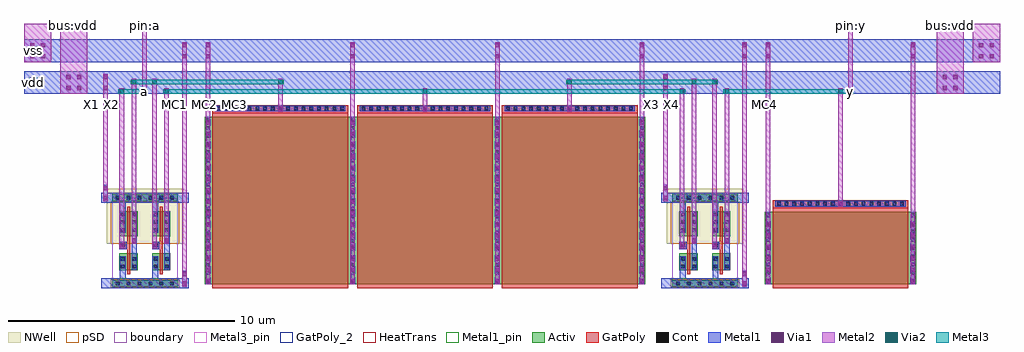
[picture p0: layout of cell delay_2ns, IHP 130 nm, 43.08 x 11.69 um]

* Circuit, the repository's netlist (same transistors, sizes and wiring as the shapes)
** sch_path: /foss/designs/Designs/bidir-level-shifter/xschem/schematics/delay_2ns.sch
.subckt delay_2ns a y vdd vss
*.PININFO a:B y:B vdd:B vss:B
X1 net1 a vdd vss sg13cmos5l_inv_1
MMC1 vss net1 vss vss sg13_lv_nmos w=7.4u l=6u ng=1
X2 net2 net1 vdd vss sg13cmos5l_inv_1
MMC2 vss net2 vss vss sg13_lv_nmos w=7.4u l=6u ng=1
X3 net3 net2 vdd vss sg13cmos5l_inv_1
MMC3 vss net3 vss vss sg13_lv_nmos w=7.4u l=6u ng=1
X4 y net3 vdd vss sg13cmos5l_inv_1
MMC4 vss y vss vss sg13_lv_nmos w=3.2u l=6u ng=1
.ends

* expanding   symbol:  logic_gates/sg13cmos5l_inv_1.sym # of pins=4
** sym_path: /foss/designs/Designs/bidir-level-shifter/xschem/logic_gates/sg13cmos5l_inv_1.sym
** sch_path: /foss/designs/Designs/bidir-level-shifter/xschem/logic_gates/sg13cmos5l_inv_1.sch
.subckt sg13cmos5l_inv_1 Y A VDD VSS
*.PININFO Y:B A:B VDD:B VSS:B
MMN0 Y A VSS VSS sg13_lv_nmos w=0.74u l=0.13u ng=1
MMP0 Y A VDD VDD sg13_lv_pmos w=1.12u l=0.13u ng=1
.ends

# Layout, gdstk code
import gdstk
lib = gdstk.Library(unit=1e-6, precision=1e-09)
def R(c, l, rs):  # rectangles x0, y0, x1, y1
    for r in rs: c.add(gdstk.rectangle(r[:2], r[2:], *l))
def A(c, l, x, y, w, h, nx, ny, dx, dy):  # array of equal rectangles
    R(c, l, [(x+i*dx, y+j*dy, x+i*dx+w, y+j*dy+h) for i in range(nx) for j in range(ny)])
def P(c, l, *ps):  # polygons
    for p in ps: c.add(gdstk.Polygon(p, *l))
Activ = (1, 0)
GatPoly = (5, 0)
GatPoly_2 = (5, 2)
Cont = (6, 0)
Metal1 = (8, 0)
Metal1_pin = (8, 2)
Metal2 = (10, 0)
pSD = (14, 0)
Via1 = (19, 0)
Via2 = (29, 0)
Metal3 = (30, 0)
Metal3_pin = (30, 2)
NWell = (31, 0)
HeatTrans = (51, 0)
boundary = (189, 4)

sg13cmos5l_inv_1 = lib.new_cell('sg13cmos5l_inv_1')
R(sg13cmos5l_inv_1, Activ, [(0,-0.15,1.44,0.15), (0.31,0.59,1.12,1.33), (0.31,2.075,1.12,3.195), (0,3.63,1.44,3.93)])
P(sg13cmos5l_inv_1, GatPoly, [(0.65,0.41),(0.65,1.52),(0.31,1.52),(0.31,1.85),(0.65,1.85),(0.65,3.375),(0.78,3.375),(0.78,0.41)])
A(sg13cmos5l_inv_1, Cont, 0.38, 2.285, 0.16, 0.16, 1, 3, 0, 0.34)
A(sg13cmos5l_inv_1, Cont, 0.89, 2.285, 0.16, 0.16, 1, 3, 0, 0.34)
R(sg13cmos5l_inv_1, Cont, [(0.16,-0.08,0.32,0.08), (0.16,-0.08,0.32,0.08), (0.64,-0.08,0.8,0.08), (0.64,-0.08,0.8,0.08), (1.12,-0.08,1.28,0.08), (1.12,-0.08,1.28,0.08), (0.38,0.66,0.54,0.82), (0.89,0.66,1.05,0.82), (0.38,1,0.54,1.16), (0.89,1,1.05,1.16), (0.395,1.605,0.555,1.765), (0.16,3.7,0.32,3.86), (0.16,3.7,0.32,3.86), (0.64,3.7,0.8,3.86), (0.64,3.7,0.8,3.86), (1.12,3.7,1.28,3.86), (1.12,3.7,1.28,3.86)])
R(sg13cmos5l_inv_1, Metal1, [(0.855,0.61,1.085,3.175), (0.31,1.52,0.625,1.85)])
P(sg13cmos5l_inv_1, Metal1, [(0,-0.22),(0,0.22),(0.33,0.22),(0.33,1.21),(0.59,1.21),(0.59,0.22),(1.44,0.22),(1.44,-0.22)],
  [(0.33,2.235),(0.33,3.56),(0,3.56),(0,4),(1.44,4),(1.44,3.56),(0.59,3.56),(0.59,2.235)])
R(sg13cmos5l_inv_1, Metal1_pin, [(0,-0.22,1.44,0.22), (0.855,0.61,1.085,3.175), (0.31,1.52,0.625,1.85), (0,3.56,1.44,4)])
R(sg13cmos5l_inv_1, pSD, [(-0.07,-0.18,1.51,0.18), (-0.07,1.76,1.51,3.6)])
R(sg13cmos5l_inv_1, NWell, [(-0.24,1.75,1.68,4.17)])
R(sg13cmos5l_inv_1, boundary, [(0,0,1.44,3.78)])
sg13cmos5l_inv_1.add(gdstk.Label('VDD', (0.705,3.78), layer=8, texttype=25))
sg13cmos5l_inv_1.add(gdstk.Label('VSS', (0.72,-0.02), layer=8, texttype=25))
sg13cmos5l_inv_1.add(gdstk.Label('A', (0.48,1.68), layer=8, texttype=25))
sg13cmos5l_inv_1.add(gdstk.Label('Y', (0.98,1.69), layer=8, texttype=25))

nmos = lib.new_cell('nmos')
A(nmos, Activ, 0, 0, 0.3, 0.3, 4, 1, 6.38, 0)
R(nmos, Activ, [(0,0,19.44,7.4)])
A(nmos, GatPoly, 0.34, -0.18, 6, 7.76, 3, 1, 6.38, 0)
R(nmos, GatPoly_2, [(0.34,-0.18,6.34,7.58)])
A(nmos, Cont, 0.07, 0.07, 0.16, 0.16, 4, 21, 6.38, 0.355)
A(nmos, Metal1, 0.07, 0, 0.16, 7.4, 4, 1, 6.38, 0)
R(nmos, Metal1_pin, [(0.07,0,0.23,7.4), (6.45,0,6.61,7.4)])
A(nmos, HeatTrans, 0.34, -0.18, 6, 7.76, 3, 1, 6.38, 0)
nmos.add(gdstk.Label('nmos', (3.34,3.7), layer=63, texttype=0))
nmos.add(gdstk.Label('nmos', (3.34,3.7), layer=51, texttype=0))
nmos.add(gdstk.Label('nmos', (9.72,3.7), layer=51, texttype=0))
nmos.add(gdstk.Label('nmos', (16.1,3.7), layer=51, texttype=0))

nmos_1 = lib.new_cell('nmos$1')
R(nmos_1, Activ, [(0,0,0.3,0.3), (0,0,6.68,3.2), (6.38,0,6.68,0.3)])
R(nmos_1, GatPoly, [(0.34,-0.18,6.34,3.38)])
R(nmos_1, GatPoly_2, [(0.34,-0.18,6.34,3.38)])
R(nmos_1, Cont, [(0.07,0.07,0.23,0.23), (6.45,0.07,6.61,0.23), (0.07,0.43,0.23,0.59), (6.45,0.43,6.61,0.59), (0.07,0.795,0.23,0.955), (6.45,0.795,6.61,0.955), (0.07,1.155,0.23,1.315), (6.45,1.155,6.61,1.315), (0.07,1.52,0.23,1.68), (6.45,1.52,6.61,1.68), (0.07,1.88,0.23,2.04), (6.45,1.88,6.61,2.04), (0.07,2.245,0.23,2.405), (6.45,2.245,6.61,2.405), (0.07,2.605,0.23,2.765), (6.45,2.605,6.61,2.765), (0.07,2.97,0.23,3.13), (6.45,2.97,6.61,3.13)])
R(nmos_1, Metal1, [(0.07,0,0.23,3.2), (6.45,0,6.61,3.2)])
R(nmos_1, Metal1_pin, [(0.07,0,0.23,3.2), (6.45,0,6.61,3.2)])
R(nmos_1, HeatTrans, [(0.34,-0.18,6.34,3.38)])
nmos_1.add(gdstk.Label('nmos', (3.34,1.6), layer=63, texttype=0))
nmos_1.add(gdstk.Label('nmos', (3.34,1.6), layer=51, texttype=0))

delay_2ns = lib.new_cell('delay_2ns')
A(delay_2ns, GatPoly, 4.92, 7.76, 6, 0.33, 3, 1, 6.38, 0)
R(delay_2ns, GatPoly, [(29.64,3.56,35.64,3.89)])
A(delay_2ns, Cont, 29.84, 3.66, 0.16, 0.16, 17, 1, 0.34, 0)
A(delay_2ns, Cont, 5.12, 7.86, 0.16, 0.16, 17, 1, 0.34, 0)
A(delay_2ns, Cont, 11.5, 7.86, 0.16, 0.16, 17, 1, 0.34, 0)
A(delay_2ns, Cont, 17.88, 7.86, 0.16, 0.16, 17, 1, 0.34, 0)
A(delay_2ns, Metal1, 4.625, 0.18, 0.21, 0.29, 4, 15, 6.38, 0.5)
A(delay_2ns, Metal1, 29.345, 0.18, 0.21, 0.29, 1, 6, 0, 0.5)
A(delay_2ns, Metal1, 35.725, 0.18, 0.21, 0.29, 1, 6, 0, 0.5)
A(delay_2ns, Metal1, 7.815, 7.795, 0.21, 0.29, 3, 1, 6.38, 0)
A(delay_2ns, Metal1, 5.05, 7.81, 5.74, 0.26, 3, 1, 6.38, 0)
R(delay_2ns, Metal1, [(0,0,0.5,0.44), (3.38,0,3.88,0.44), (24.72,0,25.22,0.44), (28.1,0,28.6,0.44), (3.575,0.075,3.785,0.365), (3.575,0.075,3.785,0.785), (28.295,0.075,28.505,0.365), (28.295,0.075,28.505,0.785), (0.81,1.76,1.02,2.05), (2.25,1.76,2.46,2.05), (25.53,1.76,25.74,2.05), (26.97,1.76,27.18,2.05), (1.355,1.965,1.565,2.255), (2.795,1.965,3.005,2.255), (26.075,1.965,26.285,2.255), (27.515,1.965,27.725,2.255), (32.535,3.595,32.745,3.885), (29.77,3.61,35.51,3.87), (0,3.78,0.5,4.22), (3.38,3.78,3.88,4.22), (24.72,3.78,25.22,4.22), (28.1,3.78,28.6,4.22), (0.095,3.855,0.305,4.145), (0.095,3.855,0.305,4.565), (24.815,3.855,25.025,4.145), (24.815,3.855,25.025,4.565), (-3.4,8.59,39.68,9.59), (-3.4,9.99,39.68,10.99)])
R(delay_2ns, Metal1_pin, [(-3.2,8.89,-2.8,9.29), (-3.2,10.29,-2.8,10.69)])
A(delay_2ns, Metal2, 4.63, 0.18, 0.2, 10.695, 4, 1, 6.38, 0)
R(delay_2ns, Metal2, [(3.58,0.075,3.78,10.875), (28.3,0.075,28.5,10.875), (29.35,0.18,29.55,10.875), (35.73,0.18,35.93,10.875), (0.815,1.76,1.015,8.835), (2.255,1.76,2.455,9.255), (25.535,1.76,25.735,8.835), (26.975,1.76,27.175,9.255), (1.36,1.965,1.56,9.255), (2.8,1.965,3,8.835), (26.08,1.965,26.28,9.255), (27.52,1.965,27.72,8.835), (32.54,3.595,32.74,8.835), (0.1,3.855,0.3,9.475), (24.82,3.855,25.02,9.475), (7.82,7.795,8.02,9.255), (14.2,7.795,14.4,8.835), (20.58,7.795,20.78,9.255), (1.815,8.545,2.015,11.69), (32.99,8.545,33.19,11.69), (-1.8,8.59,-0.6,11.69), (36.88,8.59,38.08,11.69), (-3.4,9.99,-2.2,11.69), (38.48,9.99,39.68,11.69)])
A(delay_2ns, Via1, 4.635, 0.23, 0.19, 0.19, 4, 15, 6.38, 0.5)
A(delay_2ns, Via1, 29.355, 0.23, 0.19, 0.19, 1, 6, 0, 0.5)
A(delay_2ns, Via1, 35.735, 0.23, 0.19, 0.19, 1, 6, 0, 0.5)
A(delay_2ns, Via1, 7.825, 7.845, 0.19, 0.19, 3, 1, 6.38, 0)
A(delay_2ns, Via1, 4.635, 10.155, 0.19, 0.19, 4, 2, 6.38, 0.48)
R(delay_2ns, Via1, [(3.585,0.125,3.775,0.315), (28.305,0.125,28.495,0.315), (3.585,0.545,3.775,0.735), (28.305,0.545,28.495,0.735), (0.82,1.81,1.01,2), (2.26,1.81,2.45,2), (25.54,1.81,25.73,2), (26.98,1.81,27.17,2), (1.365,2.015,1.555,2.205), (2.805,2.015,2.995,2.205), (26.085,2.015,26.275,2.205), (27.525,2.015,27.715,2.205), (32.545,3.645,32.735,3.835), (0.105,3.905,0.295,4.095), (24.825,3.905,25.015,4.095), (0.105,4.325,0.295,4.515), (24.825,4.325,25.015,4.515), (-1.535,8.755,-1.345,8.945), (-1.055,8.755,-0.865,8.945), (0.105,8.755,0.295,8.945), (24.825,8.755,25.015,8.945), (37.145,8.755,37.335,8.945), (37.625,8.755,37.815,8.945), (-1.535,9.235,-1.345,9.425), (-1.055,9.235,-0.865,9.425), (0.105,9.235,0.295,9.425), (24.825,9.235,25.015,9.425), (37.145,9.235,37.335,9.425), (37.625,9.235,37.815,9.425), (-3.135,10.155,-2.945,10.345), (-2.655,10.155,-2.465,10.345), (3.585,10.155,3.775,10.345), (28.305,10.155,28.495,10.345), (29.355,10.155,29.545,10.345), (35.735,10.155,35.925,10.345), (38.745,10.155,38.935,10.345), (39.225,10.155,39.415,10.345), (-3.135,10.635,-2.945,10.825), (-2.655,10.635,-2.465,10.825), (3.585,10.635,3.775,10.825), (28.305,10.635,28.495,10.825), (29.355,10.635,29.545,10.825), (35.735,10.635,35.925,10.825), (38.745,10.635,38.935,10.825), (39.225,10.635,39.415,10.825)])
R(delay_2ns, Via2, [(0.82,8.595,1.01,8.785), (1.82,8.595,2.01,8.785), (2.805,8.595,2.995,8.785), (14.205,8.595,14.395,8.785), (25.54,8.595,25.73,8.785), (27.525,8.595,27.715,8.785), (32.545,8.595,32.735,8.785), (32.995,8.595,33.185,8.785), (1.365,9.015,1.555,9.205), (2.26,9.015,2.45,9.205), (7.825,9.015,8.015,9.205), (20.585,9.015,20.775,9.205), (26.085,9.015,26.275,9.205), (26.98,9.015,27.17,9.205)])
R(delay_2ns, Metal3, [(0.77,8.59,2.06,8.79), (2.755,8.59,25.78,8.79), (27.475,8.59,33.235,8.79), (1.315,9.01,8.065,9.21), (20.535,9.01,27.22,9.21)])
R(delay_2ns, Metal3_pin, [(1.85,8.625,1.98,8.755), (33.025,8.625,33.155,8.755)])
delay_2ns.add(gdstk.Reference(sg13cmos5l_inv_1, (0.5,0.22)))
delay_2ns.add(gdstk.Reference(sg13cmos5l_inv_1, (1.94,0.22)))
delay_2ns.add(gdstk.Reference(nmos, (4.58,0.18)))
delay_2ns.add(gdstk.Reference(sg13cmos5l_inv_1, (25.22,0.22)))
delay_2ns.add(gdstk.Reference(sg13cmos5l_inv_1, (26.66,0.22)))
delay_2ns.add(gdstk.Reference(nmos_1, (29.3,0.18)))
delay_2ns.add(gdstk.Label('vdd', (-3,9.09), layer=8, texttype=25))
delay_2ns.add(gdstk.Label('vss', (-3,10.49), layer=8, texttype=25))
delay_2ns.add(gdstk.Label('a', (1.915,8.69), layer=30, texttype=25))
delay_2ns.add(gdstk.Label('y', (33.09,8.69), layer=30, texttype=25))
delay_2ns.add(gdstk.Label('X1 X2', (0,8.14), layer=63, texttype=0))
delay_2ns.add(gdstk.Label('MC1 MC2 MC3', (4.58,8.14), layer=63, texttype=0))
delay_2ns.add(gdstk.Label('X3 X4', (24.72,8.14), layer=63, texttype=0))
delay_2ns.add(gdstk.Label('MC4', (29.3,8.14), layer=63, texttype=0))
delay_2ns.add(gdstk.Label('pin:a', (1.915,11.59), layer=63, texttype=0))
delay_2ns.add(gdstk.Label('pin:y', (33.09,11.59), layer=63, texttype=0))
delay_2ns.add(gdstk.Label('bus:vdd', (-1.2,11.59), layer=63, texttype=0))
delay_2ns.add(gdstk.Label('bus:vdd', (37.48,11.59), layer=63, texttype=0))
delay_2ns.add(gdstk.Label('bus:vss', (-2.8,11.59), layer=63, texttype=0))
delay_2ns.add(gdstk.Label('bus:vss', (39.08,11.59), layer=63, texttype=0))

lib.write_gds('delay_2ns.gds')
